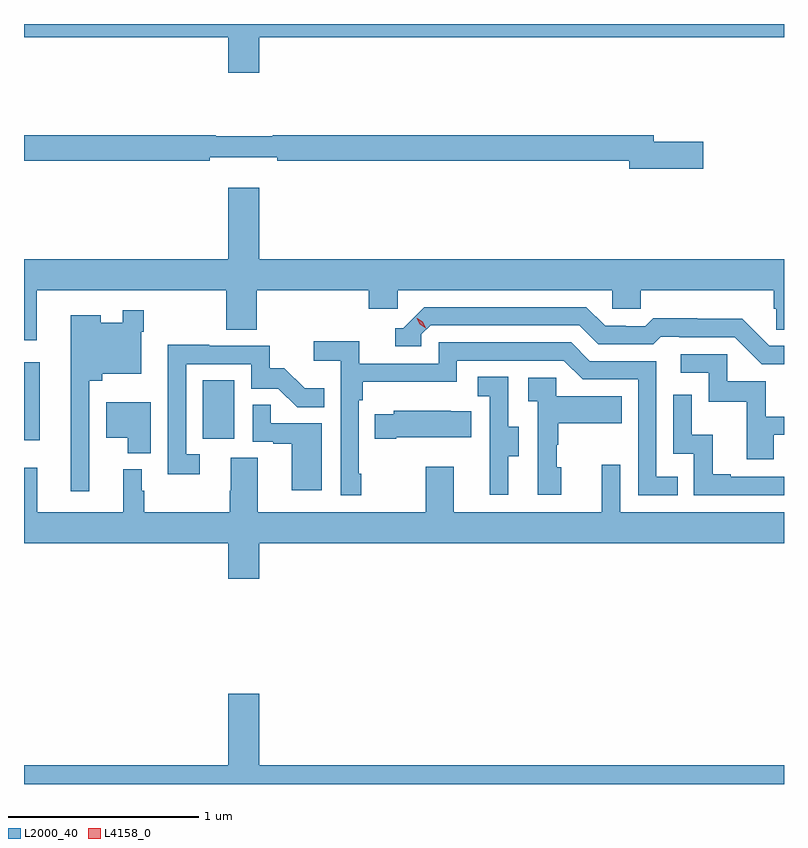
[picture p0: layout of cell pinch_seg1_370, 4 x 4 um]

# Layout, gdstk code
import gdstk
lib = gdstk.Library(unit=1e-6, precision=1e-09)
def R(c, l, rs):  # rectangles x0, y0, x1, y1
    for r in rs: c.add(gdstk.rectangle(r[:2], r[2:], *l))
def P(c, l, *ps):  # polygons
    for p in ps: c.add(gdstk.Polygon(p, *l))
L2000_40 = (2000, 40)
L4158_0 = (4158, 0)

pinch_seg1_370 = lib.new_cell('pinch_seg1_370')
R(pinch_seg1_370, L2000_40, [(955.142,534.959,955.225,535.369), (956.084,534.966,956.248,535.273)])
P(pinch_seg1_370, L2000_40, [(956.38,537.08),(959.142,537.08),(959.142,537.149),(955.142,537.149),(955.142,537.08),(956.216,537.08),(956.216,536.892),(956.38,536.892)],
  [(958.717,536.528),(958.456,536.528),(958.456,536.564),(956.452,536.564),(956.452,536.557),(956.152,536.557),(956.152,536.564),(955.142,536.564),(955.142,536.428),(956.12,536.428),(956.12,536.447),(956.476,536.447),(956.476,536.428),(958.328,536.428),(958.328,536.386),(958.717,536.386)],
  [(955.21,535.748),(956.206,535.748),(956.206,535.54),(956.366,535.54),(956.366,535.748),(956.957,535.748),(956.957,535.65),(957.108,535.65),(957.108,535.748),(958.239,535.748),(958.239,535.65),(958.389,535.65),(958.389,535.748),(959.087,535.748),(959.087,535.65),(959.101,535.65),(959.101,535.54),(959.142,535.54),(959.142,535.912),(956.38,535.912),(956.38,536.287),(956.216,536.287),(956.216,535.912),(955.142,535.912),(955.142,535.485),(955.21,535.485)],
  [(959.142,535.455),(959.064,535.455),(958.922,535.597),(958.686,535.597),(958.686,535.6),(958.453,535.6),(958.411,535.557),(958.308,535.557),(958.308,535.56),(958.201,535.56),(958.102,535.659),(957.249,535.659),(957.138,535.548),(957.095,535.548),(957.095,535.452),(957.234,535.452),(957.234,535.515),(957.282,535.563),(958.065,535.563),(958.164,535.464),(958.453,535.464),(958.492,535.503),(958.591,535.503),(958.591,535.5),(958.884,535.5),(959.025,535.359),(959.142,535.359)],
  [(955.485,535.271),(955.554,535.271),(955.554,535.307),(955.758,535.307),(955.758,535.529),(955.771,535.529),(955.771,535.642),(955.662,535.642),(955.662,535.576),(955.546,535.576),(955.546,535.615),(955.388,535.615),(955.388,534.69),(955.485,534.69)],
  [(956.917,534.781),(956.904,534.781),(956.904,535.169),(956.924,535.169),(956.924,535.265),(957.42,535.265),(957.42,535.377),(957.984,535.377),(958.083,535.278),(958.374,535.278),(958.374,534.669),(958.583,534.669),(958.583,534.765),(958.47,534.765),(958.47,535.374),(958.12,535.374),(958.021,535.473),(957.324,535.473),(957.324,535.362),(956.906,535.362),(956.906,535.478),(956.667,535.478),(956.667,535.376),(956.808,535.376),(956.808,534.669),(956.917,534.669)],
  [(956.068,534.885),(955.995,534.885),(955.995,535.359),(956.337,535.359),(956.337,535.23),(956.481,535.23),(956.579,535.132),(956.723,535.132),(956.723,535.231),(956.619,535.231),(956.512,535.338),(956.436,535.338),(956.436,535.455),(956.117,535.455),(956.117,535.46),(955.899,535.46),(955.899,534.78),(956.068,534.78)],
  [(959.089,534.987),(959.142,534.987),(959.142,535.083),(959.047,535.083),(959.047,535.269),(958.842,535.269),(958.842,535.41),(958.599,535.41),(958.599,535.314),(958.746,535.314),(958.746,535.161),(958.945,535.161),(958.945,534.858),(959.089,534.858)],
  [(957.691,534.874),(957.745,534.874),(957.745,535.029),(957.69,535.029),(957.69,535.292),(957.531,535.292),(957.531,535.189),(957.594,535.189),(957.594,534.885),(957.593,534.885),(957.593,534.672),(957.691,534.672)],
  [(957.97,534.816),(957.945,534.816),(957.945,534.935),(957.955,534.935),(957.955,535.049),(958.289,535.049),(958.289,535.189),(957.942,535.189),(957.942,535.287),(957.795,535.287),(957.795,535.163),(957.846,535.163),(957.846,534.672),(957.97,534.672)],
  [(959.142,534.765),(958.861,534.765),(958.861,534.778),(958.766,534.778),(958.766,534.986),(958.656,534.986),(958.656,535.198),(958.56,535.198),(958.56,534.888),(958.668,534.888),(958.668,534.669),(959.142,534.669)],
  [(955.81,535.159),(955.574,535.159),(955.574,534.971),(955.688,534.971),(955.688,534.89),(955.81,534.89)],
  [(956.71,535.047),(956.441,535.047),(956.441,535.145),(956.346,535.145),(956.346,534.951),(956.453,534.951),(956.453,534.939),(956.552,534.939),(956.552,534.696),(956.71,534.696)],
  [(957.1,534.974),(957.497,534.974),(957.497,535.111),(957.389,535.111),(957.389,535.114),(957.087,535.114),(957.087,535.096),(956.989,535.096),(956.989,534.967),(957.1,534.967)],
  [(956.38,534.416),(959.142,534.416),(959.142,534.58),(958.281,534.58),(958.281,534.829),(958.184,534.829),(958.184,534.58),(957.403,534.58),(957.403,534.82),(957.256,534.82),(957.256,534.58),(956.371,534.58),(956.371,534.866),(956.231,534.866),(956.231,534.692),(956.224,534.692),(956.224,534.58),(955.774,534.58),(955.774,534.692),(955.762,534.692),(955.762,534.805),(955.664,534.805),(955.664,534.58),(955.211,534.58),(955.211,534.814),(955.142,534.814),(955.142,534.416),(956.216,534.416),(956.216,534.228),(956.38,534.228)],
  [(959.142,533.248),(956.38,533.248),(956.38,533.623),(956.216,533.623),(956.216,533.248),(955.142,533.248),(955.142,533.149),(959.142,533.149)])
P(pinch_seg1_370, L4158_0, [(957.257,535.548),(957.226,535.568),(957.21,535.6),(957.21,535.6),(957.211,535.6),(957.241,535.581),(957.257,535.548),(957.257,535.548)])

lib.write_gds('pinch_seg1_370.gds')
